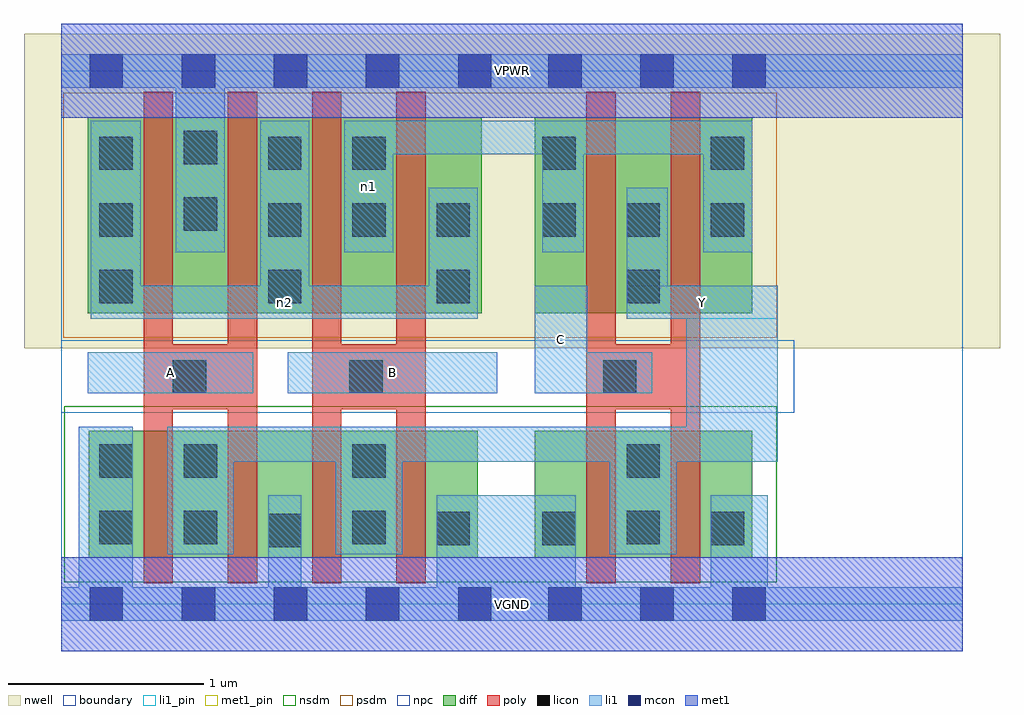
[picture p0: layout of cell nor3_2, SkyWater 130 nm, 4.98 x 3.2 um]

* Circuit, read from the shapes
.subckt nor3_2 A B C VGND VPWR Y n1 n2
XM1 Y A VGND VSUBS sky130_fd_pr__nfet_01v8 w=0.65 l=0.15 m=2
XM2 Y B VGND VSUBS sky130_fd_pr__nfet_01v8 w=0.65 l=0.15 m=2
XM3 Y C VGND VSUBS sky130_fd_pr__nfet_01v8 w=0.65 l=0.15 m=2
XM4 VPWR A n2 n3 sky130_fd_pr__pfet_01v8 w=1 l=0.15 m=2
XM5 n1 B n2 n3 sky130_fd_pr__pfet_01v8 w=1 l=0.15 m=2
XM6 Y C n1 n3 sky130_fd_pr__pfet_01v8 w=1 l=0.15 m=2
.ends

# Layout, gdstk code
import gdstk
lib = gdstk.Library(unit=1e-6, precision=1e-09)
def R(c, l, rs):  # rectangles x0, y0, x1, y1
    for r in rs: c.add(gdstk.rectangle(r[:2], r[2:], *l))
def A(c, l, x, y, w, h, nx, ny, dx, dy):  # array of equal rectangles
    R(c, l, [(x+i*dx, y+j*dy, x+i*dx+w, y+j*dy+h) for i in range(nx) for j in range(ny)])
nwell = (64, 20)
diff = (65, 20)
poly = (66, 20)
licon = (66, 44)
li1_pin = (67, 16)
li1 = (67, 20)
mcon = (67, 44)
met1_pin = (68, 16)
met1 = (68, 20)
nsdm = (93, 44)
psdm = (94, 20)
npc = (95, 20)
boundary = (235, 4)

nor3_2 = lib.new_cell('nor3_2')
R(nor3_2, nwell, [(-0.19,1.305,4.79,2.91), (0,1.305,4.6,2.91)])
R(nor3_2, diff, [(0.14,0.235,2.125,0.885), (2.415,0.235,3.525,0.885), (0.135,1.485,2.145,2.485), (2.415,1.485,3.525,2.485)])
A(nor3_2, poly, 0.42, 0.105, 0.15, 2.51, 4, 1, 0.43, 0)
R(nor3_2, poly, [(2.68,0.105,2.83,2.615), (3.11,0.105,3.26,2.615), (0.42,0.995,1,1.325), (1.28,0.995,1.86,1.325), (2.68,0.995,3.26,1.325)])
A(nor3_2, licon, 0.195, 1.535, 0.17, 0.17, 3, 1, 0.86, 0)
A(nor3_2, licon, 1.055, 1.875, 0.17, 0.17, 3, 1, 0.43, 0)
A(nor3_2, licon, 2.455, 1.875, 0.17, 0.17, 3, 1, 0.43, 0)
R(nor3_2, licon, [(1.055,0.29,1.225,0.46), (1.915,0.3,2.085,0.47), (2.455,0.3,2.625,0.47), (3.315,0.3,3.485,0.47), (0.195,0.305,0.365,0.475), (0.625,0.305,0.795,0.475), (1.485,0.305,1.655,0.475), (2.885,0.305,3.055,0.475), (0.195,0.645,0.365,0.815), (0.625,0.645,0.795,0.815), (1.485,0.645,1.655,0.815), (2.885,0.645,3.055,0.815), (0.57,1.075,0.74,1.245), (1.47,1.075,1.64,1.245), (2.765,1.075,2.935,1.245), (2.885,1.535,3.055,1.705), (0.195,1.875,0.365,2.045), (0.625,1.905,0.795,2.075), (0.195,2.215,0.365,2.385), (1.055,2.215,1.225,2.385), (1.485,2.215,1.655,2.385), (2.455,2.215,2.625,2.385), (3.315,2.215,3.485,2.385), (0.625,2.245,0.795,2.415)])
R(nor3_2, li1_pin, [(0.135,1.075,0.98,1.285), (1.155,1.075,2.225,1.285), (2.415,1.075,2.685,1.625), (2.885,1.455,3.655,1.625)])
R(nor3_2, li1, [(0,-0.085,4.6,0.085), (0.09,-0.085,0.365,0.905), (1.055,-0.085,1.225,0.555), (1.915,-0.085,2.625,0.555), (3.315,-0.085,3.605,0.555), (0.54,0.255,0.88,0.905), (1.4,0.255,1.74,0.905), (2.8,0.255,3.14,0.905), (0.54,0.725,3.655,0.905), (3.19,0.725,3.655,1.625), (0.135,1.075,0.98,1.285), (1.155,1.075,2.225,1.285), (2.415,1.075,2.685,1.625), (2.415,1.075,3.015,1.285), (0.15,1.455,2.125,1.625), (0.15,1.455,0.405,2.465), (1.015,1.455,1.265,2.465), (1.875,1.455,2.125,2.125), (2.885,1.455,3.095,2.125), (2.885,1.455,3.655,1.625), (0.585,1.795,0.835,2.805), (1.445,1.795,1.695,2.465), (2.455,1.795,2.665,2.465), (3.275,1.795,3.525,2.465), (1.445,2.295,3.525,2.465), (0,2.635,4.6,2.805)])
A(nor3_2, mcon, 0.145, -0.085, 0.17, 0.17, 5, 2, 0.47, 2.72)
A(nor3_2, mcon, 2.485, -0.085, 0.17, 0.17, 3, 2, 0.47, 2.72)
R(nor3_2, met1_pin, [(0,-0.24,4.6,0.24), (0,2.48,4.6,2.96)])
R(nor3_2, met1, [(0,-0.24,4.6,0.24), (0,2.48,4.6,2.96)])
R(nor3_2, nsdm, [(0.015,0.11,3.65,1.01)])
R(nor3_2, psdm, [(0.01,1.36,3.65,2.61)])
R(nor3_2, npc, [(0,0.975,3.74,1.345)])
R(nor3_2, boundary, [(0,0,4.6,2.72)])
nor3_2.add(gdstk.Label('A', (0.557,1.18), layer=67, texttype=5))
nor3_2.add(gdstk.Label('B', (1.69,1.18), layer=67, texttype=5))
nor3_2.add(gdstk.Label('C', (2.55,1.35), layer=67, texttype=5))
nor3_2.add(gdstk.Label('Y', (3.27,1.54), layer=67, texttype=5))
nor3_2.add(gdstk.Label('n2', (1.137,1.54), layer=67, texttype=5))
nor3_2.add(gdstk.Label('n1', (1.57,2.13), layer=67, texttype=5))
nor3_2.add(gdstk.Label('VPWR', (2.3,2.72), layer=68, texttype=5))
nor3_2.add(gdstk.Label('VGND', (2.3,0), layer=68, texttype=5))
nor3_2.add(gdstk.Label('A', (0.557,1.18), layer=67, texttype=16))
nor3_2.add(gdstk.Label('B', (1.69,1.18), layer=67, texttype=16))
nor3_2.add(gdstk.Label('C', (2.55,1.35), layer=67, texttype=16))
nor3_2.add(gdstk.Label('Y', (3.27,1.54), layer=67, texttype=16))
nor3_2.add(gdstk.Label('VPWR', (2.3,2.72), layer=68, texttype=16))
nor3_2.add(gdstk.Label('VGND', (2.3,0), layer=68, texttype=16))

lib.write_gds('nor3_2.gds')
